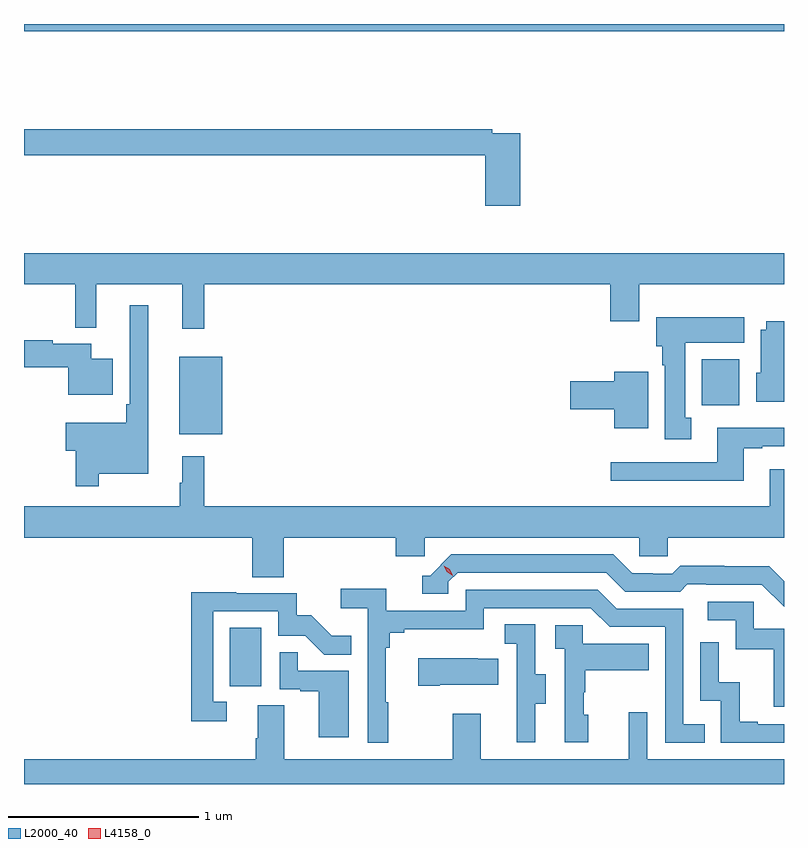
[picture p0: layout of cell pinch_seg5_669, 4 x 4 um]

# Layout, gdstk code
import gdstk
lib = gdstk.Library(unit=1e-6, precision=1e-09)
def R(c, l, rs):  # rectangles x0, y0, x1, y1
    for r in rs: c.add(gdstk.rectangle(r[:2], r[2:], *l))
def P(c, l, *ps):  # polygons
    for p in ps: c.add(gdstk.Polygon(p, *l))
L2000_40 = (2000, 40)
L4158_0 = (4158, 0)

pinch_seg5_669 = lib.new_cell('pinch_seg5_669')
R(pinch_seg5_669, L2000_40, [(1029.566,835.998,1029.73,836.305), (1029.299,837.323,1029.526,837.733), (1032.05,837.476,1032.247,837.718), (1028.482,839.444,1032.482,839.483)])
P(pinch_seg5_669, L2000_40, [(1031.093,838.908),(1030.946,838.908),(1030.946,838.928),(1028.482,838.928),(1028.482,838.792),(1030.91,838.792),(1030.91,838.527),(1031.093,838.527)],
  [(1029.431,838.112),(1031.567,838.112),(1031.567,837.918),(1031.719,837.918),(1031.719,838.112),(1032.482,838.112),(1032.482,838.276),(1028.482,838.276),(1028.482,838.112),(1028.751,838.112),(1028.751,837.884),(1028.861,837.884),(1028.861,838.112),(1029.314,838.112),(1029.314,837.879),(1029.431,837.879)],
  [(1028.875,837.116),(1029.136,837.116),(1029.136,838.003),(1029.039,838.003),(1029.039,837.481),(1029.019,837.481),(1029.019,837.385),(1028.702,837.385),(1028.702,837.238),(1028.754,837.238),(1028.754,837.051),(1028.875,837.051)],
  [(1031.995,837.41),(1031.962,837.41),(1031.962,837.806),(1032.274,837.806),(1032.274,837.94),(1031.81,837.94),(1031.81,837.786),(1031.84,837.786),(1031.84,837.686),(1031.855,837.686),(1031.855,837.297),(1031.995,837.297)],
  [(1032.482,837.919),(1032.389,837.919),(1032.389,837.874),(1032.359,837.874),(1032.359,837.648),(1032.335,837.648),(1032.335,837.494),(1032.482,837.494)],
  [(1028.95,837.721),(1028.836,837.721),(1028.836,837.799),(1028.634,837.799),(1028.634,837.819),(1028.482,837.819),(1028.482,837.677),(1028.714,837.677),(1028.714,837.533),(1028.95,837.533)],
  [(1031.767,837.652),(1031.588,837.652),(1031.588,837.602),(1031.358,837.602),(1031.358,837.455),(1031.588,837.455),(1031.588,837.356),(1031.767,837.356)],
  [(1032.271,837.249),(1032.367,837.249),(1032.367,837.261),(1032.482,837.261),(1032.482,837.358),(1032.131,837.358),(1032.131,837.177),(1031.571,837.177),(1031.571,837.08),(1032.271,837.08)],
  [(1029.848,836.78),(1030.439,836.78),(1030.439,836.682),(1030.59,836.682),(1030.59,836.78),(1031.721,836.78),(1031.721,836.682),(1031.871,836.682),(1031.871,836.78),(1032.482,836.78),(1032.482,837.139),(1032.407,837.139),(1032.407,836.944),(1029.431,836.944),(1029.431,837.208),(1029.314,837.208),(1029.314,837.068),(1029.303,837.068),(1029.303,836.944),(1028.482,836.944),(1028.482,836.78),(1029.683,836.78),(1029.683,836.572),(1029.848,836.572)],
  [(1032.482,836.551),(1032.404,836.629),(1032.168,836.629),(1032.168,836.632),(1031.935,836.632),(1031.893,836.589),(1031.79,836.589),(1031.79,836.592),(1031.683,836.592),(1031.584,836.691),(1030.731,836.691),(1030.62,836.58),(1030.577,836.58),(1030.577,836.484),(1030.716,836.484),(1030.716,836.547),(1030.764,836.595),(1031.547,836.595),(1031.646,836.496),(1031.935,836.496),(1031.974,836.535),(1032.073,836.535),(1032.073,836.532),(1032.366,836.532),(1032.482,836.416)],
  [(1030.399,835.913),(1030.387,835.913),(1030.387,836.201),(1030.406,836.201),(1030.406,836.278),(1030.483,836.278),(1030.483,836.297),(1030.902,836.297),(1030.902,836.409),(1031.466,836.409),(1031.565,836.31),(1031.856,836.31),(1031.856,835.701),(1032.065,835.701),(1032.065,835.797),(1031.952,835.797),(1031.952,836.406),(1031.602,836.406),(1031.503,836.505),(1030.806,836.505),(1030.806,836.394),(1030.388,836.394),(1030.388,836.51),(1030.149,836.51),(1030.149,836.408),(1030.29,836.408),(1030.29,835.701),(1030.399,835.701)],
  [(1029.55,835.917),(1029.477,835.917),(1029.477,836.391),(1029.819,836.391),(1029.819,836.262),(1029.963,836.262),(1030.061,836.164),(1030.205,836.164),(1030.205,836.263),(1030.101,836.263),(1029.994,836.37),(1029.918,836.37),(1029.918,836.487),(1029.599,836.487),(1029.599,836.492),(1029.361,836.492),(1029.361,835.812),(1029.55,835.812)],
  [(1032.482,836.301),(1032.324,836.301),(1032.324,836.442),(1032.081,836.442),(1032.081,836.346),(1032.228,836.346),(1032.228,836.193),(1032.427,836.193),(1032.427,835.89),(1032.482,835.89)],
  [(1031.173,835.906),(1031.227,835.906),(1031.227,836.061),(1031.172,836.061),(1031.172,836.324),(1031.013,836.324),(1031.013,836.221),(1031.076,836.221),(1031.076,835.917),(1031.075,835.917),(1031.075,835.704),(1031.173,835.704)],
  [(1031.452,835.848),(1031.427,835.848),(1031.427,835.967),(1031.437,835.967),(1031.437,836.081),(1031.771,836.081),(1031.771,836.221),(1031.424,836.221),(1031.424,836.319),(1031.277,836.319),(1031.277,836.195),(1031.328,836.195),(1031.328,835.704),(1031.452,835.704)],
  [(1032.482,835.797),(1032.343,835.797),(1032.343,835.81),(1032.248,835.81),(1032.248,836.018),(1032.138,836.018),(1032.138,836.23),(1032.042,836.23),(1032.042,835.92),(1032.15,835.92),(1032.15,835.701),(1032.482,835.701)],
  [(1030.192,836.079),(1029.923,836.079),(1029.923,836.177),(1029.828,836.177),(1029.828,835.983),(1029.935,835.983),(1029.935,835.971),(1030.034,835.971),(1030.034,835.728),(1030.192,835.728)],
  [(1030.669,836.006),(1030.979,836.006),(1030.979,836.143),(1030.871,836.143),(1030.871,836.146),(1030.557,836.146),(1030.557,835.999),(1030.669,835.999)],
  [(1032.482,835.612),(1031.763,835.612),(1031.763,835.861),(1031.666,835.861),(1031.666,835.612),(1030.885,835.612),(1030.885,835.852),(1030.738,835.852),(1030.738,835.612),(1029.853,835.612),(1029.853,835.898),(1029.713,835.898),(1029.713,835.724),(1029.701,835.724),(1029.701,835.612),(1028.482,835.612),(1028.482,835.483),(1032.482,835.483)])
P(pinch_seg5_669, L4158_0, [(1030.739,836.58),(1030.708,836.6),(1030.692,836.632),(1030.692,836.632),(1030.692,836.632),(1030.723,836.613),(1030.739,836.58),(1030.739,836.58)])

lib.write_gds('pinch_seg5_669.gds')
